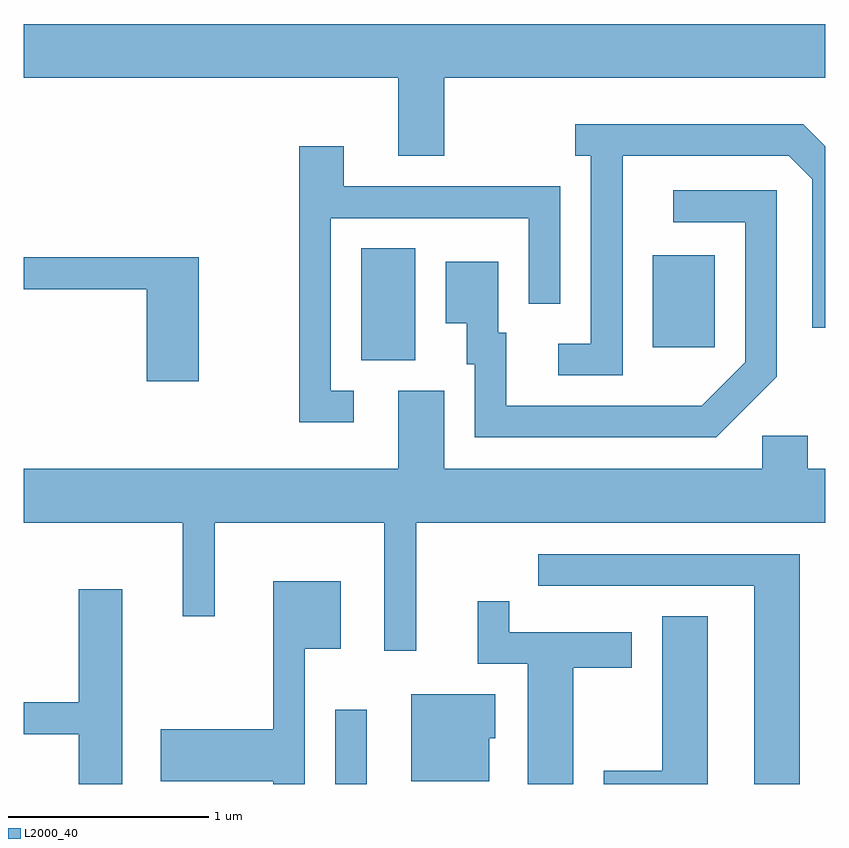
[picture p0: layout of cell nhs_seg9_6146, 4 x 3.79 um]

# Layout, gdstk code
import gdstk
lib = gdstk.Library(unit=1e-6, precision=1e-09)
def R(c, l, rs):  # rectangles x0, y0, x1, y1
    for r in rs: c.add(gdstk.rectangle(r[:2], r[2:], *l))
def P(c, l, *ps):  # polygons
    for p in ps: c.add(gdstk.Polygon(p, *l))
L2000_40 = (2000, 40)

nhs_seg9_6146 = lib.new_cell('nhs_seg9_6146')
R(nhs_seg9_6146, L2000_40, [(367.166,2070.432,367.324,2070.803), (367.296,2072.546,367.564,2073.104), (368.751,2072.611,369.059,2073.069)])
P(nhs_seg9_6146, L2000_40, [(367.709,2073.956),(369.611,2073.956),(369.611,2074.224),(365.611,2074.224),(365.611,2073.956),(367.481,2073.956),(367.481,2073.566),(367.709,2073.566)],
  [(368.599,2073.566),(369.429,2073.566),(369.546,2073.449),(369.546,2072.708),(369.611,2072.708),(369.611,2073.614),(369.502,2073.724),(368.363,2073.724),(368.363,2073.566),(368.441,2073.566),(368.441,2072.629),(368.278,2072.629),(368.278,2072.471),(368.599,2072.471)],
  [(367.258,2072.394),(367.144,2072.394),(367.144,2073.256),(368.131,2073.256),(368.131,2072.827),(368.289,2072.827),(368.289,2073.414),(367.209,2073.414),(367.209,2073.614),(366.986,2073.614),(366.986,2072.236),(367.258,2072.236)],
  [(369.369,2072.463),(369.369,2073.394),(368.853,2073.394),(368.853,2073.236),(369.211,2073.236),(369.211,2072.537),(368.994,2072.319),(368.019,2072.319),(368.019,2072.684),(367.979,2072.684),(367.979,2073.039),(367.716,2073.039),(367.716,2072.731),(367.821,2072.731),(367.821,2072.526),(367.861,2072.526),(367.861,2072.161),(369.067,2072.161)],
  [(366.484,2073.059),(365.611,2073.059),(365.611,2072.901),(366.226,2072.901),(366.226,2072.441),(366.484,2072.441)],
  [(367.569,2071.736),(369.611,2071.736),(369.611,2072.004),(369.524,2072.004),(369.524,2072.169),(369.296,2072.169),(369.296,2072.004),(367.709,2072.004),(367.709,2072.394),(367.481,2072.394),(367.481,2072.004),(365.611,2072.004),(365.611,2071.736),(366.406,2071.736),(366.406,2071.268),(366.564,2071.268),(366.564,2071.736),(367.411,2071.736),(367.411,2071.097),(367.569,2071.097)],
  [(369.484,2071.579),(368.178,2071.579),(368.178,2071.421),(369.256,2071.421),(369.256,2070.432),(369.484,2070.432)],
  [(367.014,2071.106),(367.194,2071.106),(367.194,2071.444),(366.856,2071.444),(366.856,2070.704),(366.296,2070.704),(366.296,2070.446),(366.856,2070.446),(366.856,2070.432),(367.014,2070.432)],
  [(366.104,2071.404),(365.886,2071.404),(365.886,2070.839),(365.611,2070.839),(365.611,2070.681),(365.886,2070.681),(365.886,2070.432),(366.104,2070.432)],
  [(368.354,2071.011),(368.644,2071.011),(368.644,2071.189),(368.034,2071.189),(368.034,2071.343),(367.876,2071.343),(367.876,2071.031),(368.126,2071.031),(368.126,2070.432),(368.354,2070.432)],
  [(369.024,2071.269),(368.796,2071.269),(368.796,2070.499),(368.506,2070.499),(368.506,2070.432),(369.024,2070.432)],
  [(367.934,2070.661),(367.964,2070.661),(367.964,2070.879),(367.546,2070.879),(367.546,2070.446),(367.934,2070.446)])

lib.write_gds('nhs_seg9_6146.gds')
